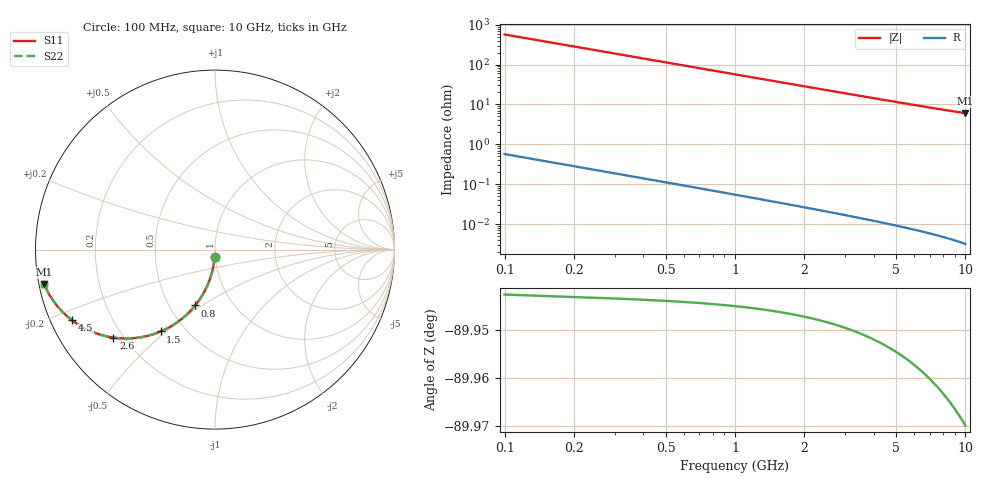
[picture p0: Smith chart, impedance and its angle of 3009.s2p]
# Hz S RI R 50.00
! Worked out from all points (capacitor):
!   100 points, 100 MHz to 10 GHz, reference 50 ohm
!   read as one part in shunt: C = 2.79 pF near 100 MHz
!   lowest |Z| = 6.05 ohm at 10 GHz (marker M1)
!   S11 on the Smith chart (normalised r, x): 100 MHz: 0.99, -0.09; 800 MHz: 0.67, -0.47; 1.5 GHz: 0.37, -0.48; 2.6 GHz: 0.16, -0.36; 4.5 GHz: 0.06, -0.23; 10 GHz: 0.01, -0.10
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1e8  -0.00185 -0.0436  0.9979 -0.044  0.9979 -0.044  -0.00185 -0.0436
2e8  -0.00761 -0.0867  0.9922 -0.0874  0.9922 -0.0874  -0.00761 -0.0867
3e8  -0.017 -0.1288  0.9827 -0.1299  0.9827 -0.1299  -0.017 -0.1288
4e8  -0.0299 -0.1695  0.9698 -0.171  0.9698 -0.171  -0.0299 -0.1695
5e8  -0.046 -0.2083  0.9538 -0.2102  0.9538 -0.2102  -0.046 -0.2083
6e8  -0.0649 -0.245  0.9348 -0.2472  0.9348 -0.2472  -0.0649 -0.245
8e8  -0.1099 -0.3109  0.8899 -0.3138  0.8899 -0.3138  -0.1099 -0.3109
9e8  -0.1351 -0.3397  0.8647 -0.3431  0.8647 -0.3431  -0.1351 -0.3397
1.1e9  -0.1891 -0.3892  0.8106 -0.3933  0.8106 -0.3933  -0.1891 -0.3892
1.3e9  -0.2457 -0.4276  0.754 -0.4325  0.754 -0.4325  -0.2457 -0.4276
1.5e9  -0.3025 -0.4561  0.6973 -0.4617  0.6973 -0.4617  -0.3025 -0.4561
1.8e9  -0.3844 -0.4826  0.6153 -0.4894  0.6153 -0.4894  -0.3844 -0.4826
2.2e9  -0.4827 -0.4951  0.517 -0.5033  0.517 -0.5033  -0.4827 -0.4951
2.6e9  -0.5659 -0.4902  0.4338 -0.5  0.4338 -0.5  -0.5659 -0.4902
3e9  -0.6346 -0.4753  0.3651 -0.4866  0.3651 -0.4866  -0.6346 -0.4753
3.4e9  -0.6907 -0.4552  0.309 -0.468  0.309 -0.468  -0.6907 -0.4552
3.9e9  -0.7463 -0.4272  0.2534 -0.4419  0.2534 -0.4419  -0.7463 -0.4272
4.5e9  -0.7968 -0.3932  0.2028 -0.4102  0.2028 -0.4102  -0.7968 -0.3932
5.1e9  -0.8346 -0.3611  0.1649 -0.3804  0.1649 -0.3804  -0.8346 -0.3611
6.7e9  -0.8976 -0.2894  0.1018 -0.315  0.1018 -0.315  -0.8976 -0.2894
8.4e9  -0.9329 -0.2327  0.0663 -0.2651  0.0663 -0.2651  -0.9329 -0.2327
1e10  -0.9521 -0.1923  0.0468 -0.2313  0.0468 -0.2313  -0.9521 -0.1923
